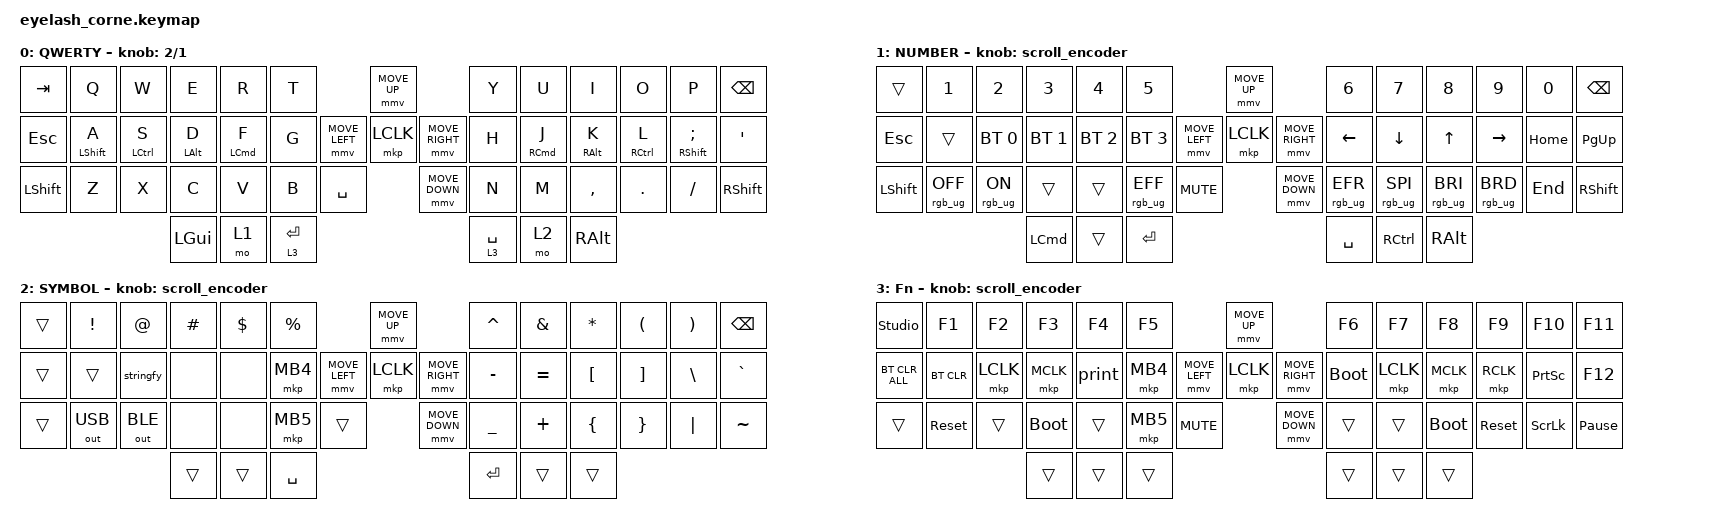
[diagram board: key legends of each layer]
#define ZMK_POINTING_DEFAULT_MOVE_VAL 1200  // 600
#define ZMK_POINTING_DEFAULT_SCRL_VAL 25   // 10

#include <input/processors.dtsi>
#include <zephyr/dt-bindings/input/input-event-codes.h>
#include <behaviors.dtsi>
#include <dt-bindings/zmk/bt.h>
#include <dt-bindings/zmk/keys.h>
#include <dt-bindings/zmk/outputs.h>
#include <dt-bindings/zmk/pointing.h>
#include <dt-bindings/zmk/rgb.h>

&mmv_input_listener { input-processors = <&zip_xy_scaler 2 1>; };

&msc_input_listener { input-processors = <&zip_scroll_scaler 2 1>; };

&msc {
    acceleration-exponent = <1>;      // 0
    time-to-max-speed-ms = <100>;       // 300
    delay-ms = <0>;                   // 0
};

&mmv {
    time-to-max-speed-ms = <500>;
    acceleration-exponent = <1>;
    trigger-period-ms = <16>;
};

/ {
    behaviors {
        td0: td0 {
            compatible = "zmk,behavior-tap-dance";
            display-name = "Shift/Caps Lock Tap Dance";
            #binding-cells = <0>;
            bindings = <&kp LEFT_SHIFT>, <&kp CAPS>;
        };

        hml: hml {
            compatible = "zmk,behavior-hold-tap";
            label = "HML";
            bindings = <&kp>, <&kp>;

            #binding-cells = <2>;
            tapping-term-ms = <200>;
            quick-tap-ms = <175>;
            flavor = "tap-preferred";
            hold-trigger-on-release;
            hold-trigger-key-positions = <0 1 2 3 4 5 13 14 15 16 17 18 28 29 30 31 32 33 34 42 43 44 45 46 47>;
        };

        hmr: hmr {
            compatible = "zmk,behavior-hold-tap";
            label = "HMR";
            bindings = <&kp>, <&kp>;

            #binding-cells = <2>;
            tapping-term-ms = <200>;
            quick-tap-ms = <175>;
            flavor = "tap-preferred";
            hold-trigger-key-positions = <7 8 9 10 11 12 22 23 24 25 26 27 36 37 38 39 40 41 45 46 47 42 43 44>;
            hold-trigger-on-release;
        };
    };

    rgb_encoder: rgb_encoder {
        compatible = "zmk,behavior-sensor-rotate";
        #sensor-binding-cells = <0>;
        bindings = <&rgb_ug RGB_BRI>, <&rgb_ug RGB_BRD>;
    };

    scroll_encoder: scroll_encoder {
        compatible = "zmk,behavior-sensor-rotate";
        #sensor-binding-cells = <0>;
        bindings = <&msc SCRL_DOWN>, <&msc SCRL_UP>;

        tap-ms = <100>;
    };

    macros {
        stringfy: stringfy {
            compatible = "zmk,behavior-macro";
            #binding-cells = <0>;
            bindings = <&none &kp UNDER &kp U &kp T &kp I &kp L &kp S &kp DOT &kp S &kp T &kp R &kp I &kp N &kp G &kp I &kp F &kp Y &kp LS(A) &kp S &kp LS(J) &kp S &kp O &kp N &kp LPAR &kp RPAR>;
            label = "STRINGFY";
        };
    };

    keymap {
        compatible = "zmk,keymap";

        default_layer {
            display-name = "QWERTY";
            bindings = <
&kp TAB         &kp Q              &kp W                &kp E            &kp R                &kp T                                     &mmv MOVE_UP                     &kp Y        &kp U                 &kp I             &kp O                 &kp P                  &kp BSPC
&kp ESCAPE      &hml LEFT_SHIFT A  &hml LEFT_CONTROL S  &hml LEFT_ALT D  &hml LEFT_COMMAND F  &kp G                     &mmv MOVE_LEFT  &mkp LCLK       &mmv MOVE_RIGHT  &kp H        &hmr RIGHT_COMMAND J  &hmr RIGHT_ALT K  &hmr RIGHT_CONTROL L  &hmr RIGHT_SHIFT SEMI  &kp SQT
&kp LEFT_SHIFT  &kp Z              &kp X                &kp C            &kp V                &kp B        &kp SPACE                    &mmv MOVE_DOWN                   &kp N        &kp M                 &kp COMMA         &kp DOT               &kp FSLH               &kp RIGHT_SHIFT
                                                        &kp LGUI         &mo 1                &lt 3 ENTER                                                                &lt 3 SPACE  &mo 2                 &kp RALT
            >;

            // sensor-bindings = <&inc_dec_kp C_VOLUME_UP C_VOLUME_DOWN>;

            sensor-bindings = <&inc_dec_kp N2 N1>;
        };

        lower_layer {
            display-name = "NUMBER";
            bindings = <
&trans          &kp N1           &kp N2          &kp N3            &kp N4        &kp N5                                         &mmv MOVE_UP                     &kp N6           &kp N7             &kp N8           &kp N9           &kp N0    &kp BSPC
&kp ESCAPE      &trans           &bt BT_SEL 0    &bt BT_SEL 1      &bt BT_SEL 2  &bt BT_SEL 3                   &mmv MOVE_LEFT  &mkp LCLK       &mmv MOVE_RIGHT  &kp LEFT         &kp DOWN           &kp UP           &kp RIGHT        &kp HOME  &kp PG_UP
&kp LEFT_SHIFT  &rgb_ug RGB_OFF  &rgb_ug RGB_ON  &trans            &trans        &rgb_ug RGB_EFF  &kp C_MUTE                    &mmv MOVE_DOWN                   &rgb_ug RGB_EFR  &rgb_ug RGB_SPI    &rgb_ug RGB_BRI  &rgb_ug RGB_BRD  &kp END   &kp RIGHT_SHIFT
                                                 &kp LEFT_COMMAND  &trans        &kp ENTER                                                                       &kp SPACE        &kp RIGHT_CONTROL  &kp RIGHT_ALT
            >;

            sensor-bindings = <&scroll_encoder>;
        };

        raise_layer {
            display-name = "SYMBOL";
            bindings = <
&trans  &kp EXCL      &kp AT        &kp HASH  &kp DLLR  &kp PRCNT                            &mmv MOVE_UP                     &kp CARET  &kp AMPS   &kp ASTRK  &kp LPAR  &kp RPAR  &kp BSPC
&trans  &trans        &stringfy     &none     &none     &mkp MB4             &mmv MOVE_LEFT  &mkp LCLK       &mmv MOVE_RIGHT  &kp MINUS  &kp EQUAL  &kp LBKT   &kp RBKT  &kp BSLH  &kp GRAVE
&trans  &out OUT_USB  &out OUT_BLE  &none     &none     &mkp MB5   &trans                    &mmv MOVE_DOWN                   &kp UNDER  &kp PLUS   &kp LBRC   &kp RBRC  &kp PIPE  &kp TILDE
                                    &trans    &trans    &kp SPACE                                                             &kp RET    &trans     &trans
            >;

            sensor-bindings = <&scroll_encoder>;
        };

        layer_3 {
            display-name = "Fn";
            bindings = <
&studio_unlock  &kp F1      &kp F2     &kp F3       &kp F4  &kp F5                                  &mmv MOVE_UP                     &kp F6       &kp F7     &kp F8       &kp F9      &kp F10          &kp F11
&bt BT_CLR_ALL  &bt BT_CLR  &mkp LCLK  &mkp MCLK    &print  &mkp MB4                &mmv MOVE_LEFT  &mkp LCLK       &mmv MOVE_RIGHT  &bootloader  &mkp LCLK  &mkp MCLK    &mkp RCLK   &kp PRINTSCREEN  &kp F12
&trans          &sys_reset  &trans     &bootloader  &trans  &mkp MB5  &kp C_MUTE                    &mmv MOVE_DOWN                   &trans       &trans     &bootloader  &sys_reset  &kp SCROLLLOCK   &kp PAUSE_BREAK
                                       &trans       &trans  &trans                                                                   &trans       &trans     &trans
            >;

            sensor-bindings = <&scroll_encoder>;
        };
    };
};
